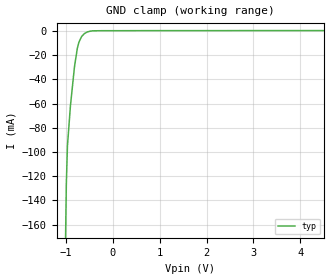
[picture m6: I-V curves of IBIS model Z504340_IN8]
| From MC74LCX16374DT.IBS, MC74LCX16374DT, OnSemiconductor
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| (C) COPYRIGHT 1993-2000
| MENTOR GRAPHICS CORPORATION
| ICX STANDARD LIBRARY, ICX PROJECT MODELING,
| ICX CUSTOM MODELING, ICX VENDOR MODEL
| ALL RIGHTS RESERVED.
| THE FOLLOWING ARE TRADEMARKS OR SERVICE MARKS OF
| MENTOR GRAPHICS CORPORATION:ICX (R), ICX STANDARD
| LIBRARY(R), ICX PROJECT MODELING(R), ICX CUSTOM
| MODELING(R), qualityIBIS(TM), MODELVIEWER(TM),
| AND MODELEDITOR(TM)
| ALL COPIES OF SOFTWARE, INCLUDING BUT NOT LIMITED TO
| ANY MODIFICATIONS, ENHANCEMENTS OR DERIVATIVE WORKS,
| MUST CONTAIN ALL MENTOR GRAPHICS CORPORATION'S
| NOTICES AND LEGENDS, INCLUDING THOSE EMBEDDED IN
| SOFTWARE AND THOSE AFFIXED TO SOFTWARE MEDIUM
| AND CONTAINER, AS RECEIVED FROM MENTOR GRAPHICS
| CORPORATION.
| Model Application Version 1.89 2/18/99.
[Model] Z504340_IN8
Model_type Input
Vinl = 800.0mV
Vinh = 2.000V
C_comp 4.000pF NA NA
| variable typ   min   max
[Voltage Range] 3.300V NA NA
[GND Clamp Reference] 0.000V NA NA
[POWER Clamp Reference] 3.300V NA NA
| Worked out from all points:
|   GND clamp passes 1 mA (typ) near -0.55 V on its own axis
[GND Clamp]
-3.3V     -1.979A    NA         NA
-1.045V   -275.7mA   NA         NA
-991.1mV  -126.8mA   NA         NA
-966.8mV  -94.73mA   NA         NA
-903.3mV  -61.92mA   NA         NA
-816.3mV  -29.41mA   NA         NA
-756.4mV  -14.44mA   NA         NA
-722.7mV  -9.382mA   NA         NA
-664.1mV  -4.65mA    NA         NA
-551mV    -1.023mA   NA         NA
-214.8mV  116.5uA    NA         NA
6.6V      223uA      NA         NA
[POWER Clamp]
-3.3V     0A         NA         NA
6.6V      0A         NA         NA
